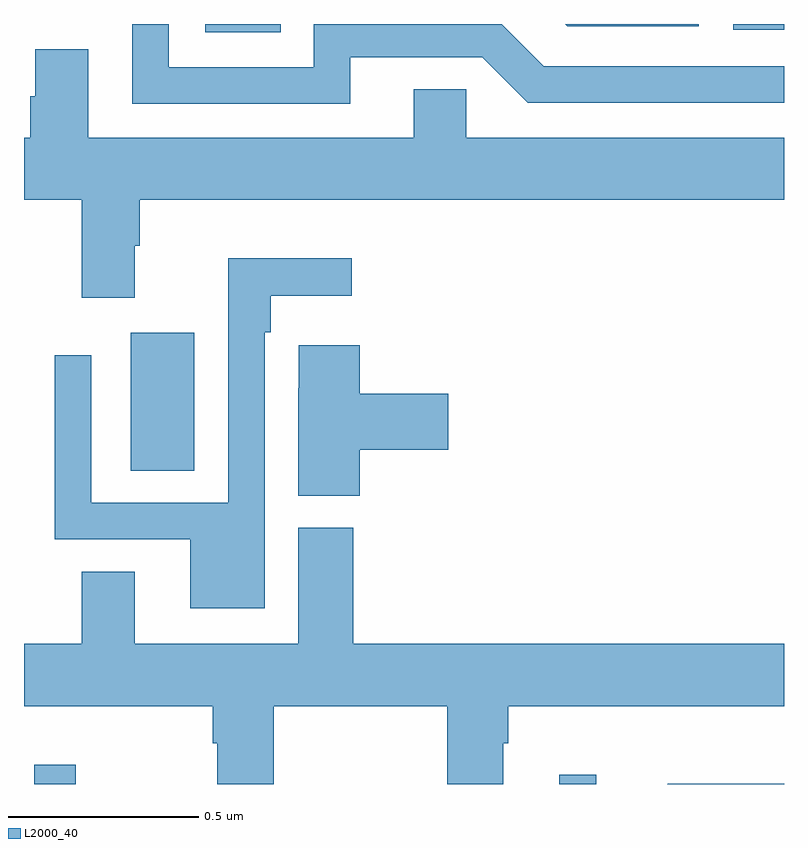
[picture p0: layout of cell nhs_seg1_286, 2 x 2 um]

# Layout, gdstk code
import gdstk
lib = gdstk.Library(unit=1e-6, precision=1e-09)
def R(c, l, rs):  # rectangles x0, y0, x1, y1
    for r in rs: c.add(gdstk.rectangle(r[:2], r[2:], *l))
def P(c, l, *ps):  # polygons
    for p in ps: c.add(gdstk.Polygon(p, *l))
L2000_40 = (2000, 40)

nhs_seg1_286 = lib.new_cell('nhs_seg1_286')
R(nhs_seg1_286, L2000_40, [(114.027,546.199,114.136,546.25), (115.409,546.199,115.506,546.223), (114.281,547.024,114.448,547.387), (114.477,548.177,114.675,548.199), (115.866,548.184,116,548.199)])
P(nhs_seg1_286, L2000_40, [(114.859,548.112),(115.206,548.112),(115.326,547.992),(116,547.992),(116,548.088),(115.368,548.088),(115.257,548.199),(114.762,548.199),(114.762,548.085),(114.381,548.085),(114.381,548.199),(114.285,548.199),(114.285,547.989),(114.859,547.989)],
  [(115.776,548.199),(115.424,548.199),(115.43,548.193),(115.776,548.193)],
  [(114.292,547.616),(114.305,547.616),(114.305,547.736),(116,547.736),(116,547.9),(115.164,547.9),(115.164,548.027),(115.025,548.027),(115.025,547.9),(114.169,547.9),(114.169,548.132),(114.03,548.132),(114.03,548.009),(114.017,548.009),(114.017,547.9),(114,547.9),(114,547.736),(114.152,547.736),(114.152,547.479),(114.292,547.479)],
  [(114.633,547.388),(114.649,547.388),(114.649,547.484),(114.862,547.484),(114.862,547.582),(114.537,547.582),(114.537,546.939),(114.177,546.939),(114.177,547.327),(114.081,547.327),(114.081,546.843),(114.437,546.843),(114.437,546.662),(114.633,546.662)],
  [(114.884,547.079),(115.117,547.079),(115.117,547.226),(114.884,547.226),(114.884,547.354),(114.723,547.354),(114.723,547.241),(114.722,547.241),(114.722,546.958),(114.884,546.958)],
  [(114.657,546.404),(115.114,546.404),(115.114,546.199),(115.261,546.199),(115.261,546.306),(115.274,546.306),(115.274,546.404),(116,546.404),(116,546.568),(114.866,546.568),(114.866,546.873),(114.722,546.873),(114.722,546.568),(114.292,546.568),(114.292,546.758),(114.152,546.758),(114.152,546.568),(114,546.568),(114,546.404),(114.497,546.404),(114.497,546.306),(114.509,546.306),(114.509,546.199),(114.657,546.199)],
  [(116,546.2),(115.694,546.2),(115.693,546.199),(116,546.199)])

lib.write_gds('nhs_seg1_286.gds')
